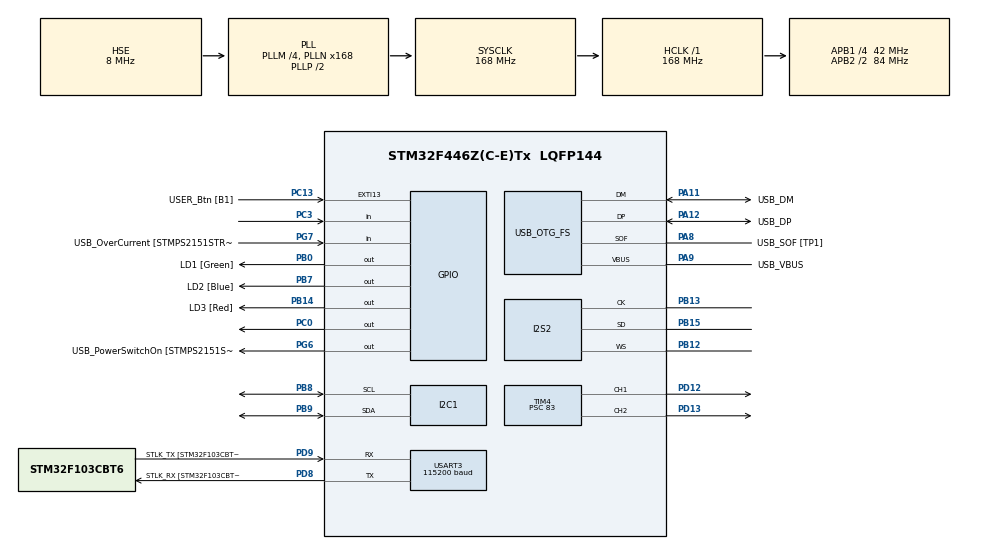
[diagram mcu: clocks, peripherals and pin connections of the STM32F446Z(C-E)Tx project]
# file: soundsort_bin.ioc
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Dma.Request0=SPI2_RX
Dma.SPI2_RX.0.Direction=DMA_PERIPH_TO_MEMORY
Dma.SPI2_RX.0.FIFOMode=DMA_FIFOMODE_DISABLE
Dma.SPI2_RX.0.Instance=DMA1_Stream3
Dma.SPI2_RX.0.MemDataAlignment=DMA_MDATAALIGN_HALFWORD
Dma.SPI2_RX.0.MemInc=DMA_MINC_ENABLE
Dma.SPI2_RX.0.Mode=DMA_CIRCULAR
Dma.SPI2_RX.0.PeriphDataAlignment=DMA_PDATAALIGN_HALFWORD
Dma.SPI2_RX.0.PeriphInc=DMA_PINC_DISABLE
Dma.SPI2_RX.0.Priority=DMA_PRIORITY_VERY_HIGH
I2C1.I2C_Mode=I2C_Fast
I2S2.AudioFreq=I2S_AUDIOFREQ_16K
I2S2.DataFormat=I2S_DATAFORMAT_16B_EXTENDED
I2S2.ErrorAudioFreq=-0.26 %
I2S2.FullDuplexMode=I2S_FULLDUPLEXMODE_DISABLE
I2S2.Instance=SPI$Index
I2S2.Mode=I2S_MODE_MASTER_RX
I2S2.RealAudioFreq=15.957 KHz
I2S2.VirtualMode=I2S_MODE_MASTER
Mcu.Family=STM32F4
Mcu.Name=STM32F446Z(C-E)Tx
Mcu.Package=LQFP144
NVIC.DMA1_Stream3_IRQn=true\:0\:0\:false\:false\:true\:false\:true\:true
NVIC.PriorityGroup=NVIC_PRIORITYGROUP_4
PA0-WKUP.Signal=S_TIM2_CH1_ETR
PA10.GPIO_Label=USB_ID
PA10.Signal=USB_OTG_FS_ID
PA11.GPIO_Label=USB_DM
PA11.Mode=Device_Only
PA11.Signal=USB_OTG_FS_DM
PA12.GPIO_Label=USB_DP
PA12.Mode=Device_Only
PA12.Signal=USB_OTG_FS_DP
PA13.GPIO_Label=TMS
PA13.Mode=Serial_Wire
PA13.Signal=SYS_JTMS-SWDIO
PA14.GPIO_Label=TCK
PA14.Mode=Serial_Wire
PA14.Signal=SYS_JTCK-SWCLK
PA8.GPIO_Label=USB_SOF [TP1]
PA8.Mode=Activate_SOF_FS
PA8.Signal=USB_OTG_FS_SOF
PA9.GPIO_Label=USB_VBUS
PA9.Mode=Activate_VBUS
PA9.Signal=USB_OTG_FS_VBUS
PB0.GPIO_Label=LD1 [Green]
PB0.Signal=GPIO_Output
PB12.Mode=Half_Duplex_Master
PB12.Signal=I2S2_WS
PB13.Mode=Half_Duplex_Master
PB13.Signal=I2S2_CK
PB14.GPIO_Label=LD3 [Red]
PB14.Signal=GPIO_Output
PB15.Mode=Half_Duplex_Master
PB15.Signal=I2S2_SD
PB7.GPIO_Label=LD2 [Blue]
PB7.Signal=GPIO_Output
PB8.Mode=I2C
PB8.Signal=I2C1_SCL
PB9.Mode=I2C
PB9.Signal=I2C1_SDA
PC0.Signal=GPIO_Output
PC13.GPIO_Label=USER_Btn [B1]
PC13.Signal=GPXTI13
PC14-OSC32_IN.Mode=LSE-External-Oscillator
PC14-OSC32_IN.Signal=RCC_OSC32_IN
PC15-OSC32_OUT.Mode=LSE-External-Oscillator
PC15-OSC32_OUT.Signal=RCC_OSC32_OUT
PC3.Signal=GPIO_Input
PD12.Signal=S_TIM4_CH1
PD13.Signal=S_TIM4_CH2
PD8.GPIO_Label=STLK_RX [STM32F103CBT6_PA3]
PD8.Mode=Asynchronous
PD8.Signal=USART3_TX
PD9.GPIO_Label=STLK_TX [STM32F103CBT6_PA2]
PD9.Mode=Asynchronous
PD9.Signal=USART3_RX
PG6.GPIO_Label=USB_PowerSwitchOn [STMPS2151STR_EN]
PG6.Signal=GPIO_Output
PG7.GPIO_Label=USB_OverCurrent [STMPS2151STR_FAULT]
PG7.Signal=GPIO_Input
PH0-OSC_IN.GPIO_Label=MCO [STM32F103CBT6_PA8]
PH0-OSC_IN.Mode=HSE-External-Clock-Source
PH0-OSC_IN.Signal=RCC_OSC_IN
PH1-OSC_OUT.Mode=HSE-External-Clock-Source
PH1-OSC_OUT.Signal=RCC_OSC_OUT
ProjectManager.HeapSize=0x200
ProjectManager.StackSize=0x400
ProjectManager.TargetToolchain=STM32CubeIDE
RCC.48MHZClocksFreq_Value=24000000
RCC.AHBFreq_Value=168000000
RCC.APB1CLKDivider=RCC_HCLK_DIV4
RCC.APB1Freq_Value=42000000
RCC.APB1TimFreq_Value=84000000
RCC.APB2CLKDivider=RCC_HCLK_DIV2
RCC.APB2Freq_Value=84000000
RCC.APB2TimFreq_Value=168000000
RCC.CortexFreq_Value=168000000
RCC.HCLKFreq_Value=168000000
RCC.HSE_VALUE=8000000
RCC.HSI_VALUE=16000000
RCC.PLLI2SM=4
RCC.PLLM=4
RCC.PLLMUL=RCC_PLL_MUL9
RCC.PLLN=168
RCC.PLLQ=7
RCC.PRESCALERUSB=RCC_USBCLKSOURCE_PLL_DIV1_5
RCC.SYSCLKFreq_VALUE=168000000
RCC.SYSCLKSource=RCC_SYSCLKSOURCE_PLLCLK
RCC.SYSCLKSourceVirtual=RCC_SYSCLKSOURCE_PLLCLK
RCC.USBFreq_Value=48000000
RCC.VCOOutputFreq_Value=336000000
SH.S_TIM2_CH1_ETR.0=TIM2_CH1
SH.S_TIM4_CH1.0=TIM4_CH1,PWM Generation1 CH1
SH.S_TIM4_CH2.0=TIM4_CH2,PWM Generation2 CH2
TIM4.Channel-PWM\ Generation1\ CH1=TIM_CHANNEL_1
TIM4.Channel-PWM\ Generation2\ CH2=TIM_CHANNEL_2
TIM4.Period=19999
TIM4.Prescaler=83
TIM4.Pulse-PWM\ Generation1\ CH1=1500
USART3.BaudRate=115200
USART3.VirtualMode=VM_ASYNC
USB_OTG_FS.VirtualMode=Device_Only
VP_TIM4_VS_ClockSourceINT.Mode=Internal
board=NUCLEO-F446ZE

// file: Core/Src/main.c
/* USER CODE BEGIN Header */
/**
 ******************************************************************************
 * @file           : main.c
 * @brief          : Main program body
 ******************************************************************************
 * @attention
 *
 * Copyright (c) 2026 STMicroelectronics.
 * All rights reserved.
 *
 * This software is licensed under terms that can be found in the LICENSE file
 * in the root directory of this software component.
 * If no LICENSE file comes with this software, it is provided AS-IS.
 *
 ******************************************************************************
 */
/* USER CODE END Header */
#include "main.h"

/* USER CODE BEGIN Includes */
#include <stdio.h>
#include <math.h>
#include <string.h>

#include "soundsort_model.h"
#include "VL53L1X_api.h"
#include "ssd1306.h"
#include "fonts.h"
/* USER CODE END Includes */

/* USER CODE BEGIN PD */

// Total DMA buffer size for I2S audio
// DMA will fill this buffer continuously in a ping-pong manner:
// first half -> interrupt, second half -> interrupt
#define I2S_DMA_SAMPLES 1024
#define HALF_SAMPLES (I2S_DMA_SAMPLES / 2)

// If the ToF sensor sees an object closer than this, start listening
#define TOF_THRESHOLD_MM 120

// Audio sample rate used by both STM32 and Python training
#define TARGET_SR 16000

// We store 0.5 seconds at 16kHz audio
// 16000 samples/sec * 0.5 sec = 8000 samples
#define AUDIO_LEN 8000

// FFT size used for spectral features
// Only the first 1024 audio samples are used for FFT features
#define N_FFT 1024

/* USER CODE END PD */

I2C_HandleTypeDef hi2c1;

I2S_HandleTypeDef hi2s2;
DMA_HandleTypeDef hdma_spi2_rx;

TIM_HandleTypeDef htim4;

UART_HandleTypeDef huart3;

PCD_HandleTypeDef hpcd_USB_OTG_FS;

void SystemClock_Config(void);
static void MX_GPIO_Init(void);
static void MX_DMA_Init(void);
static void MX_I2S2_Init(void);
static void MX_USART3_UART_Init(void);
static void MX_USB_OTG_FS_PCD_Init(void);
static void MX_I2C1_Init(void);
static void MX_TIM4_Init(void);

/* USER CODE BEGIN 0 */
const float PI = 3.14159265358979f;

/* ---------------- Audio capture buffers ---------------- */
// Raw DMA buffer filled directly by I2S peripheral
static uint16_t i2s_rx_buf[I2S_DMA_SAMPLES];

// Final mono audio clip used for feature extraction
// This holds 8000 float samples = 0.5 seconds
static float audio_buf[AUDIO_LEN];

// Current write index into audio_buf[]
static uint32_t audio_idx = 0;

/* ---------------- FFT working buffers ---------------- */
// Input buffer for FFT (windowed first 1024 samples)
static float fft_in[N_FFT];

// Output power spectrum: for real FFT we only need bins 0..N/2
static float P[(N_FFT / 2) + 1];

// Internal real/imag arrays used by the FFT
// These are static to avoid large stack allocation
static float fft_real[N_FFT];
static float fft_imag[N_FFT];

/* ---------------- Runtime state/flag ---------------- */
// Set to 1 once we detect the actual impact sound
// Before that, we keep waiting even though recording has started
static uint8_t is_impact_detected = 0;

// Tracks the loudest sample seen in the current recording
static float max_heard_volume = 0.0f;

// Stores raw classifier scores (logits) for each class
// Useful for debugging / converting to probabilities
static float class_scores[NUM_CLASSES];

/* ---------------- DMA synchronization flags ---------------- */
// These flags are set inside DMA callbacks
// The main loop checks them and processes the correct half of the DMA buffer
volatile uint8_t half_ready = 0;
volatile uint8_t full_ready = 0;

/* ---------------- Audio preprocessing ---------------- */
// Running DC estimate for a simple DC blocker
// Helps remove microphone bias / offset
static int32_t dc_offset = 0;

/* ---------------- FSM States ---------------- */
typedef enum {
	STATE_IDLE,     // Waiting for an object to fall
	STATE_RECORDING // Object detected, microphone active, collecting impact audio
} SystemState;

SystemState current_state = STATE_IDLE;

// Counts how many DMA half/full chunks have been processed since recording started
uint32_t chunk_count = 0;

// I2C address for VL53L1X ToF sensor
uint16_t dev = 0x52;

// Compute power spectrum of a real-valued input signal
// Input: in[] = time-domain samples (length N_FFT)
// Output: P[] = power spectrum for bins 0..N_FFT/2
void compute_power_spectrum(float *in, float *P) {
	int N = N_FFT;

	/* --------------------------------------------------
	 * 1. Copy real input into complex FFT buffers
	 *    imag part starts at 0
	 * -------------------------------------------------- */
	for (int i = 0; i < N; i++) {
		fft_real[i] = in[i];
		fft_imag[i] = 0.0f;
	}

	/* --------------------------------------------------
	 * 2. Bit-reversal permutation
	 *    Reorders samples into the order required by the
	 *    iterative radix-2 FFT algorithm
	 * -------------------------------------------------- */
	int j = 0;
	for (int i = 0; i < N - 1; i++) {
		if (i < j) {
			float tr = fft_real[j];
			float ti = fft_imag[j];
			fft_real[j] = fft_real[i];
			fft_imag[j] = fft_imag[i];
			fft_real[i] = tr;
			fft_imag[i] = ti;
		}

		int k = N / 2;
		while (k <= j) {
			j -= k;
			k /= 2;
		}
		j += k;
	}

	/* --------------------------------------------------
	 * 3. Iterative radix-2 Cooley-Tukey FFT
	 *    Since N_FFT = 1024 = 2^10, we need 10 stages
	 * -------------------------------------------------- */
	for (int l = 1; l <= 10; l++) {
		int m = 1 << l;
		int m2 = m / 2;

		float omega_real = cosf(-2.0f * PI / m);
		float omega_imag = sinf(-2.0f * PI / m);

		for (int k = 0; k < N; k += m) {
			float w_real = 1.0f;
			float w_imag = 0.0f;

			for (int i = 0; i < m2; i++) {
				int t_idx = k + i + m2;
				float tr = w_real * fft_real[t_idx] - w_imag * fft_imag[t_idx];
				float ti = w_real * fft_imag[t_idx] + w_imag * fft_real[t_idx];

				int u_idx = k + i;
				fft_real[t_idx] = fft_real[u_idx] - tr;
				fft_imag[t_idx] = fft_imag[u_idx] - ti;
				fft_real[u_idx] += tr;
				fft_imag[u_idx] += ti;

				float next_w_real = w_real * omega_real - w_imag * omega_imag;
				w_imag = w_real * omega_imag + w_imag * omega_real;
				w_real = next_w_real;
			}
		}
	}

	/* --------------------------------------------------
	 * 4. Convert complex FFT result into power spectrum
	 *    Power = real^2 + imag^2
	 *    Only bins 0..N/2 are needed for real input
	 * -------------------------------------------------- */
	for (int k = 0; k <= N / 2; k++) {
		P[k] = fft_real[k] * fft_real[k] + fft_imag[k] * fft_imag[k];
	}
}

// Extract the same 15 features used in Python training
// feats[] layout:
// [0] RMS
// [1] Peak
// [2] Zero-crossing Rate
// [3] Decay ratio
// [4] Spectral centroid
// [5] Spectral rolloff
// [6] Active ratio
// [7]..[14] Band energies
void extract_features(float *x, float *feats) {
	/* --------------------------------------------------
	 * 0. Trim everything after the last "active" sample
	 *    This matches the Python preprocessing
	 *    If the impact ends early, the tail is zeroed out
	 * -------------------------------------------------- */
	int last_active_idx = -1;
	for (int i = 0; i < AUDIO_LEN; i++) {
		if (fabsf(x[i]) > 0.03f) {
			last_active_idx = i;
		}
	}

	if (last_active_idx >= 0) {
		for (int i = last_active_idx + 1; i < AUDIO_LEN; i++) {
			x[i] = 0.0f;
		}
	}

	/* --------------------------------------------------
	 * 1. Time-domain features
	 * -------------------------------------------------- */
	float sum_sq = 0.0f;  // for RMS
	float peak = 0.0f;    // max absolute amplitude
	float zcr = 0.0f;     // zero-crossing count
	int active_count = 0; // samples above active threshold

	for (int i = 0; i < AUDIO_LEN; i++) {
		float val = x[i];
		float abs_val = fabsf(val);

		sum_sq += val * val;

		if (abs_val > peak) {
			peak = abs_val;
		}

		// Count how much of the clip is "active"
		if (abs_val > 0.05f) {
			active_count++;
		}

		// Count sign changes for zero-crossing rate
		if (i > 0) {
			if ((x[i] >= 0.0f && x[i - 1] < 0.0f)
					|| (x[i] < 0.0f && x[i - 1] >= 0.0f)) {
				zcr += 1.0f;
			}
		}
	}

	// RMS = sqrt(mean(x^2))
	feats[0] = sqrtf(sum_sq / AUDIO_LEN + 1e-12f);

	// Peak amplitude
	feats[1] = peak + 1e-12f;

	// Zero-crossing rate
	feats[2] = zcr / AUDIO_LEN;

	// Compare energy in first third vs last third of the clip
	// If the sound decays quickly, first third energy will be much larger
	int third = AUDIO_LEN / 3;
	float e1 = 1e-12f;
	float e3 = 1e-12f;

	for (int i = 0; i < third; i++) {
		e1 += x[i] * x[i];
	}
	for (int i = AUDIO_LEN - third; i < AUDIO_LEN; i++) {
		e3 += x[i] * x[i];
	}

	feats[3] = logf(e1 / e3);

	/* --------------------------------------------------
	 * 2. Frequency-domain features
	 * -------------------------------------------------- */

	// Apply Hann window to the first 1024 samples before FFT
	for (int i = 0; i < N_FFT; i++) {
		/* FIX: use N_FFT - 1, not AUDIO_LEN - 1 */
		float window = 0.5f * (1.0f - cosf(2.0f * PI * i / (N_FFT - 1)));
		fft_in[i] = x[i] * window;
	}

	// Get power spectrum
	compute_power_spectrum(fft_in, P);

	// Total spectral energy
	float total_energy = 1e-12f;
	for (int k = 0; k <= N_FFT / 2; k++) {
		total_energy += P[k];
	}

	// Frequency represented by each FFT bin
	float bin_width = (float) TARGET_SR / (float) N_FFT;

	/* Spectral centroid:
	 * weighted average frequency
	 */
	float centroid_sum = 0.0f;
	for (int k = 0; k <= N_FFT / 2; k++) {
		float freq = k * bin_width;
		centroid_sum += freq * P[k];
	}
	feats[4] = centroid_sum / total_energy;

	/* Spectral rolloff:
	 * frequency below which 85% of energy lies
	 */
	float cumsum = 0.0f;
	float target = 0.85f * total_energy;
	float rolloff_freq = 0.0f;

	for (int k = 0; k <= N_FFT / 2; k++) {
		cumsum += P[k];
		if (cumsum >= target) {
			rolloff_freq = k * bin_width;
			break;
		}
	}
	feats[5] = rolloff_freq;

	// Fraction of samples whose magnitude exceeds 0.05
	feats[6] = (float) active_count / (float) AUDIO_LEN;

	/* Band energies:
	 * split the spectrum into 8 fixed frequency bands
	 * and normalize each by total energy
	 */
	const int edges[9] = { 0, 300, 700, 1200, 2000, 3000, 4500, 6500, 8000 };

	for (int b = 0; b < 8; b++) {
		float band_e = 0.0f;

		for (int k = 0; k <= N_FFT / 2; k++) {
			float freq = k * bin_width;
			if (freq >= edges[b] && freq < edges[b + 1]) {
				band_e += P[k];
			}
		}

		feats[7 + b] = band_e / total_energy;
	}
}

// Run logistic regression inference using the weights exported from Python
// For each class:
//   z = bias + sum(normalized_feature * weight)
// The class with the largest z is selected
int classify_garbage(float *feats) {
	int best_class = 0;
	float max_score = -1e9f;

	for (int c = 0; c < NUM_CLASSES; c++) {
		float z = LR_BIAS[c];

		for (int f = 0; f < NUM_FEATURES; f++) {
			// Normalize each feature using the same scaler that was used during training
			float scale = FEATURE_SCALE[f];
			if (scale < 1e-12f) {
				scale = 1.0f;
			}

			float norm_val = (feats[f] - FEATURE_MEAN[f]) / scale;
			z += norm_val * LR_WEIGHTS[c][f];
		}

		// Save logits for debugging / probability conversion
		class_scores[c] = z;

		if (z > max_score) {
			max_score = z;
			best_class = c;
		}
	}

	return best_class;
}

// Convert raw I2S DMA data into mono float samples and store them in audio_buf[]
// Notes:
// - The microphone stream arrives as 16-bit words in a larger I2S frame format
// - We take one sample every 4 words to get the desired mono channel
// - A simple DC blocker removes slow offset drift
// - We ignore the first few DMA chunks to let the stream settle
// - We only start copying once an actual impact is heard
static void fill_audio_buffer(uint16_t *src) {
	for (uint32_t i = 0; i < HALF_SAMPLES; i += 4) {
		// Extract one signed 16-bit sample
		int16_t raw_sample = (int16_t) src[i];

		// Simple DC blocker:
		// track the slow average, subtract it away
		dc_offset = dc_offset + ((raw_sample - dc_offset) / 64); // can adjust rate of change
		float sample_float = (float) (raw_sample - dc_offset) / 32768.0f;

		// Ignore the first few chunks after DMA starts
		// because they may contain startup junk / transient data
		if (chunk_count < 5) {
			continue;
		}

		float abs_val = fabsf(sample_float);

		// Track maximum amplitude for debugging
		if (abs_val > max_heard_volume) {
			max_heard_volume = abs_val;
		}

		// Impact detection:
		// once a sample crosses this threshold, start saving audio
		if (!is_impact_detected) {
			if (abs_val > 0.01f) { // Train in python uses 0.03
				is_impact_detected = 1;
			}
		}

		// Once impact starts, copy samples into the final 0.5s buffer
		if (is_impact_detected && audio_idx < AUDIO_LEN) {
			audio_buf[audio_idx++] = sample_float;
		}
	}
}

// OLED displays in IDLE state
void OLED_ShowIdle(void) {
	SSD1306_Fill(SSD1306_COLOR_BLACK);

	SSD1306_GotoXY(0, 0);
	SSD1306_Puts("SoundSort Bin", &Font_7x10);

	SSD1306_GotoXY(0, 20);
	SSD1306_Puts("Waiting...", &Font_11x18);

	SSD1306_UpdateScreen();
}

// OLED displays when timeout (triggers ToF but no input sound)
void OLED_ShowTimeout(void) {
	SSD1306_Fill(SSD1306_COLOR_BLACK);

	SSD1306_GotoXY(0, 0);
	SSD1306_Puts("No impact", &Font_11x18);

	SSD1306_GotoXY(0, 24);
	SSD1306_Puts("Try again", &Font_11x18);

	SSD1306_UpdateScreen();
}

// OLED displays the result: garbage type + confidence in probability
void OLED_ShowResult(const char *label, float prob_percent) {
	char prob_str[24];

	snprintf(prob_str, sizeof(prob_str), "Prob: %.2f%%", prob_percent);

	SSD1306_Fill(SSD1306_COLOR_BLACK);

	SSD1306_GotoXY(0, 0);
	SSD1306_Puts("Result", &Font_7x10);

	SSD1306_GotoXY(0, 16);
	SSD1306_Puts((char*) label, &Font_11x18);

	SSD1306_GotoXY(0, 42);
	SSD1306_Puts(prob_str, &Font_7x10);

	SSD1306_UpdateScreen();
}

// Servo rotation functions
// Rotate servo to 0 degrees/reset
void servo_rotate_0(void) {
	__HAL_TIM_SET_COMPARE(&htim4, TIM_CHANNEL_1, 500);
	HAL_Delay(2000);
}

// Rotate servo to 90 degrees/reset
void servo_rotate_90(void) {
	__HAL_TIM_SET_COMPARE(&htim4, TIM_CHANNEL_1, 1166);
	HAL_Delay(2000);
}

// Rotate servo to 180 degrees/reset
void servo_rotate_180(void) {
	__HAL_TIM_SET_COMPARE(&htim4, TIM_CHANNEL_1, 1832);
	HAL_Delay(2000);
}

// Rotate servo to 270 degrees/reset
void servo_rotate_270(void) {
	__HAL_TIM_SET_COMPARE(&htim4, TIM_CHANNEL_1, 2500);
	HAL_Delay(2000);
}

// DMA Call Backs
// Ping-Pong buffering: while the CPU processes the first half, the DMA fills the second half
// first half of i2s_rx_buf[] is ready for processing
void HAL_I2S_RxHalfCpltCallback(I2S_HandleTypeDef *hi2s) {
	if (hi2s->Instance == SPI2) {
		half_ready = 1;
	}
}

// second half of i2s_rx_buf[] is ready for processing
void HAL_I2S_RxCpltCallback(I2S_HandleTypeDef *hi2s) {
	if (hi2s->Instance == SPI2) {
		full_ready = 1;
	}
}
/* USER CODE END 0 */

int main(void) {

	/* MCU Configuration--------------------------------------------------------*/

	/* Reset of all peripherals, Initializes the Flash interface and the Systick. */
	HAL_Init();

	/* Configure the system clock */
	SystemClock_Config();

	/* Initialize all configured peripherals */
	MX_GPIO_Init();
	MX_DMA_Init();
	MX_I2S2_Init();
	MX_USART3_UART_Init();
	MX_USB_OTG_FS_PCD_Init();
	MX_I2C1_Init();
	MX_TIM4_Init();
	/* USER CODE BEGIN 2 */

	// Turn on RED LED to indicate boot is starting
	HAL_GPIO_WritePin(GPIOB, LD3_Pin, GPIO_PIN_SET);

	/* ---------------- ToF Setup ---------------- */
	// 1. Reset ToF sensor (Pull XSHUT Low)
	HAL_GPIO_WritePin(GPIOC, GPIO_PIN_0, GPIO_PIN_RESET);
	HAL_Delay(10); // Hold it in reset

	// 2. Wake the ToF Sensor UP (Pull XSHUT High)
	HAL_GPIO_WritePin(GPIOC, GPIO_PIN_0, GPIO_PIN_SET);
	HAL_Delay(50); // Give it time to boot internally

	// Wait until sensor reports it has finished booting
	uint8_t sensorState = 0;
	while (sensorState == 0) {
		VL53L1X_BootState(dev, &sensorState);
		HAL_Delay(2);
	}

	// 3. Configure ToF for short-range, fast updates
	VL53L1X_SensorInit(dev);
	VL53L1X_SetDistanceMode(dev, 1);
	VL53L1X_SetTimingBudgetInMs(dev, 33);
	VL53L1X_SetInterMeasurementInMs(dev, 33);
	VL53L1X_StartRanging(dev);

	/* ---------------- OLED Screen Setup ---------------- */
	if (SSD1306_Init() != HAL_OK) {
		char msg[] = "OLED init failed\r\n";
		HAL_UART_Transmit(&huart3, (uint8_t*) msg, strlen(msg), HAL_MAX_DELAY);
	} else {
		OLED_ShowIdle();
	}

	/* ---------------- PWM/Servo Setup ---------------- */
	HAL_TIM_PWM_Start(&htim4, TIM_CHANNEL_1);
	HAL_TIM_PWM_Start(&htim4, TIM_CHANNEL_2);

	// Rotate to 0 degree
	servo_rotate_0();

	// /Close the lid
	__HAL_TIM_SET_COMPARE(&htim4, TIM_CHANNEL_2, 500);
	HAL_Delay(2000);

	// Finish setup (successful)
	// red LED off, green LED on
	HAL_GPIO_WritePin(GPIOB, LD3_Pin, GPIO_PIN_RESET);
	HAL_GPIO_WritePin(GPIOB, LD1_Pin, GPIO_PIN_SET);

	char msg[] = "All setup finished\r\n";
	HAL_UART_Transmit(&huart3, (uint8_t*) msg, strlen(msg), HAL_MAX_DELAY);

	/* USER CODE END 2 */

	/* Infinite loop */
	/* USER CODE BEGIN WHILE */
	while (1) {
		if (current_state == STATE_IDLE) {
			// In IDLE state, repeatedly poll the ToF sensor
			// We only start audio capture when an object enters the bin
			OLED_ShowIdle();
			uint8_t dataReady = 0;
			VL53L1X_CheckForDataReady(dev, &dataReady);

			if (dataReady) {
				uint16_t distance = 0;
				VL53L1X_GetDistance(dev, &distance);
				VL53L1X_ClearInterrupt(dev);

				// If object is close enough, trigger recording
				if (distance < TOF_THRESHOLD_MM && distance > 0) {
					current_state = STATE_RECORDING;

					// Reset recording-related state
					chunk_count = 0;
					audio_idx = 0;
					half_ready = 0;
					full_ready = 0;

					is_impact_detected = 0;
					max_heard_volume = 0.0f;
					dc_offset = 0;
					memset(audio_buf, 0, sizeof(audio_buf));

					// Stop ToF while recording (ToF may stop working after a long time)
					VL53L1X_StopRanging(dev);

					// Start microphone DMA capture
					HAL_I2S_Receive_DMA(&hi2s2, i2s_rx_buf, I2S_DMA_SAMPLES);

					char msg[64];
					sprintf(msg, "--- ITEM DETECTED (%d mm) ---\r\n", distance);
					HAL_UART_Transmit(&huart3, (uint8_t*) msg, strlen(msg),
					HAL_MAX_DELAY);
				}
			}
		} else if (current_state == STATE_RECORDING) {
			// In RECORDING state, the DMA callbacks set flags when either half of the DMA buffer is ready
			if (half_ready) {
				half_ready = 0;
				fill_audio_buffer(&i2s_rx_buf[0]);
				chunk_count++;
			}

			// DMA finished filling the second half of the array
			if (full_ready) {
				full_ready = 0;
				fill_audio_buffer(&i2s_rx_buf[HALF_SAMPLES]);
				chunk_count++;
			}

			/* ------------------------------------------------------
			 * SUCCESS CASE:
			 * Once we have collected 8000 samples after impact,
			 * stop recording and run classification
			 * ------------------------------------------------------ */
			if (audio_idx >= AUDIO_LEN) {
				HAL_I2S_DMAStop(&hi2s2);

				uint32_t t0 = HAL_GetTick();

				float features[NUM_FEATURES];
				extract_features(audio_buf, features);

				int predicted_idx = classify_garbage(features);

				char msg[160];

				// Find actual time that feature extractions and classifications cost
				uint32_t t1 = HAL_GetTick();
				uint32_t proc_ms = t1 - t0;
				sprintf(msg, "Processing time: %lu ms\r\n", proc_ms);
				HAL_UART_Transmit(&huart3, (uint8_t*)msg, strlen(msg), HAL_MAX_DELAY);

				// For Debug through UART
				sprintf(msg, "\r\n=== CLASSIFICATION ===\r\n");
				HAL_UART_Transmit(&huart3, (uint8_t*) msg, strlen(msg),
				HAL_MAX_DELAY);

				sprintf(msg, "max amplitude: %.5f\r\n", max_heard_volume);
				HAL_UART_Transmit(&huart3, (uint8_t*) msg, strlen(msg),
				HAL_MAX_DELAY);

				for (int i = 0; i < NUM_FEATURES; i++) {
					sprintf(msg, "F[%02d] = %.6f\r\n", i, features[i]);
					HAL_UART_Transmit(&huart3, (uint8_t*) msg, strlen(msg),
					HAL_MAX_DELAY);
				}

				for (int c = 0; c < NUM_CLASSES; c++) {
					sprintf(msg, "%s: %.6f\r\n", CLASS_NAMES[c],
							class_scores[c]);
					HAL_UART_Transmit(&huart3, (uint8_t*) msg, strlen(msg),
					HAL_MAX_DELAY);
				}

				sprintf(msg, "\r\npredicted: %s\r\n",
						CLASS_NAMES[predicted_idx]);
				HAL_UART_Transmit(&huart3, (uint8_t*) msg, strlen(msg),
				HAL_MAX_DELAY);

				// Convert raw logits into softmax probabilities
				float max_logit = class_scores[0];
				for (int c = 1; c < NUM_CLASSES; c++) {
					if (class_scores[c] > max_logit) {
						max_logit = class_scores[c];
					}
				}

				float exp_sum = 0.0f;
				float probs[NUM_CLASSES];

				for (int c = 0; c < NUM_CLASSES; c++) {
					probs[c] = expf(class_scores[c] - max_logit);
					exp_sum += probs[c];
				}

				for (int c = 0; c < NUM_CLASSES; c++) {
					probs[c] /= exp_sum;
				}

				// Print probability for each class
				for (int c = 0; c < NUM_CLASSES; c++) {
					sprintf(msg, "%s prob: %.2f%%\r\n", CLASS_NAMES[c],
							probs[c] * 100.0f);
					HAL_UART_Transmit(&huart3, (uint8_t*) msg, strlen(msg),
					HAL_MAX_DELAY);
				}

				sprintf(msg, "======================\r\n");
				HAL_UART_Transmit(&huart3, (uint8_t*) msg, strlen(msg),
				HAL_MAX_DELAY);

				// Display clasification result on OLED
				OLED_ShowResult(CLASS_NAMES[predicted_idx],
						probs[predicted_idx] * 100.0f);

				// Blink LED to show a classification happened
				HAL_GPIO_WritePin(GPIOB, LD2_Pin, GPIO_PIN_SET);
				HAL_Delay(300);
				HAL_GPIO_WritePin(GPIOB, LD2_Pin, GPIO_PIN_RESET);

				// Rotate servo to the corresponding class
				if (predicted_idx == 0) {
					servo_rotate_0(); // can
				}
				if (predicted_idx == 1) {
					servo_rotate_90(); // glass
				}
				if (predicted_idx == 2) {
					servo_rotate_180(); // paper
				}
				if (predicted_idx == 3) {
					servo_rotate_270(); // plastic
				}

				// Open the lid for 2sec and close it
				__HAL_TIM_SET_COMPARE(&htim4, TIM_CHANNEL_2, 1000);
				HAL_Delay(2000);
				__HAL_TIM_SET_COMPARE(&htim4, TIM_CHANNEL_2, 500);

				// Resume ToF scanning for the next object
				VL53L1X_StartRanging(dev);
				is_impact_detected = 0;
				current_state = STATE_IDLE;

				// UART print ready
				sprintf(msg, "Ready!\r\n");
				HAL_UART_Transmit(&huart3, (uint8_t*) msg, strlen(msg),
				HAL_MAX_DELAY);
			}

			/* ------------------------------------------------------
			 * TIMEOUT CASE:
			 * If an object was detected but no real impact sound
			 * happened after enough DMA chunks, give up and reset.
			 * ------------------------------------------------------ */
			else if (chunk_count >= 250 && !is_impact_detected) {
				// Stop the microphone
				HAL_I2S_DMAStop(&hi2s2);

				char msg[] = "TIMEOUT: Object detected, but no sound heard.\n\n";
				HAL_UART_Transmit(&huart3, (uint8_t*) msg, strlen(msg),
				HAL_MAX_DELAY);

				// Display on OLED
				OLED_ShowTimeout();

				// Only wait half a second on a timeout before scanning again
				HAL_Delay(500);
				VL53L1X_StartRanging(dev);
				is_impact_detected = 0;
				max_heard_volume = 0.0f;
				dc_offset = 0;
				current_state = STATE_IDLE;
			}
		}
	}
	/* USER CODE END WHILE */

}

void SystemClock_Config(void) {
	RCC_OscInitTypeDef RCC_OscInitStruct = { 0 };
	RCC_ClkInitTypeDef RCC_ClkInitStruct = { 0 };

	/** Configure the main internal regulator output voltage
	 */
	__HAL_RCC_PWR_CLK_ENABLE();
	__HAL_PWR_VOLTAGESCALING_CONFIG(PWR_REGULATOR_VOLTAGE_SCALE1);

	/** Initializes the RCC Oscillators according to the specified parameters
	 * in the RCC_OscInitTypeDef structure.
	 */
	RCC_OscInitStruct.OscillatorType = RCC_OSCILLATORTYPE_HSE;
	RCC_OscInitStruct.HSEState = RCC_HSE_BYPASS;
	RCC_OscInitStruct.PLL.PLLState = RCC_PLL_ON;
	RCC_OscInitStruct.PLL.PLLSource = RCC_PLLSOURCE_HSE;
	RCC_OscInitStruct.PLL.PLLM = 4;
	RCC_OscInitStruct.PLL.PLLN = 168;
	RCC_OscInitStruct.PLL.PLLP = RCC_PLLP_DIV2;
	RCC_OscInitStruct.PLL.PLLQ = 7;
	RCC_OscInitStruct.PLL.PLLR = 2;
	if (HAL_RCC_OscConfig(&RCC_OscInitStruct) != HAL_OK) {
		Error_Handler();
	}

	/** Initializes the CPU, AHB and APB buses clocks
	 */
	RCC_ClkInitStruct.ClockType = RCC_CLOCKTYPE_HCLK | RCC_CLOCKTYPE_SYSCLK
			| RCC_CLOCKTYPE_PCLK1 | RCC_CLOCKTYPE_PCLK2;
	RCC_ClkInitStruct.SYSCLKSource = RCC_SYSCLKSOURCE_PLLCLK;
	RCC_ClkInitStruct.AHBCLKDivider = RCC_SYSCLK_DIV1;
	RCC_ClkInitStruct.APB1CLKDivider = RCC_HCLK_DIV4;
	RCC_ClkInitStruct.APB2CLKDivider = RCC_HCLK_DIV2;

	if (HAL_RCC_ClockConfig(&RCC_ClkInitStruct, FLASH_LATENCY_5) != HAL_OK) {
		Error_Handler();
	}
}

static void MX_I2C1_Init(void) {

	hi2c1.Instance = I2C1;
	hi2c1.Init.ClockSpeed = 400000;
	hi2c1.Init.DutyCycle = I2C_DUTYCYCLE_2;
	hi2c1.Init.OwnAddress1 = 0;
	hi2c1.Init.AddressingMode = I2C_ADDRESSINGMODE_7BIT;
	hi2c1.Init.DualAddressMode = I2C_DUALADDRESS_DISABLE;
	hi2c1.Init.OwnAddress2 = 0;
	hi2c1.Init.GeneralCallMode = I2C_GENERALCALL_DISABLE;
	hi2c1.Init.NoStretchMode = I2C_NOSTRETCH_DISABLE;
	if (HAL_I2C_Init(&hi2c1) != HAL_OK) {
		Error_Handler();
	}

}

static void MX_I2S2_Init(void) {

	hi2s2.Instance = SPI2;
	hi2s2.Init.Mode = I2S_MODE_MASTER_RX;
	hi2s2.Init.Standard = I2S_STANDARD_PHILIPS;
	hi2s2.Init.DataFormat = I2S_DATAFORMAT_16B_EXTENDED;
	hi2s2.Init.MCLKOutput = I2S_MCLKOUTPUT_DISABLE;
	hi2s2.Init.AudioFreq = I2S_AUDIOFREQ_16K;
	hi2s2.Init.CPOL = I2S_CPOL_LOW;
	hi2s2.Init.ClockSource = I2S_CLOCK_PLL;
	hi2s2.Init.FullDuplexMode = I2S_FULLDUPLEXMODE_DISABLE;
	if (HAL_I2S_Init(&hi2s2) != HAL_OK) {
		Error_Handler();
	}

}

static void MX_TIM4_Init(void) {

	TIM_ClockConfigTypeDef sClockSourceConfig = { 0 };
	TIM_MasterConfigTypeDef sMasterConfig = { 0 };
	TIM_OC_InitTypeDef sConfigOC = { 0 };

	htim4.Instance = TIM4;
	htim4.Init.Prescaler = 83;
	htim4.Init.CounterMode = TIM_COUNTERMODE_UP;
	htim4.Init.Period = 19999;
	htim4.Init.ClockDivision = TIM_CLOCKDIVISION_DIV1;
	htim4.Init.AutoReloadPreload = TIM_AUTORELOAD_PRELOAD_DISABLE;
	if (HAL_TIM_Base_Init(&htim4) != HAL_OK) {
		Error_Handler();
	}
	sClockSourceConfig.ClockSource = TIM_CLOCKSOURCE_INTERNAL;
	if (HAL_TIM_ConfigClockSource(&htim4, &sClockSourceConfig) != HAL_OK) {
		Error_Handler();
	}
	if (HAL_TIM_PWM_Init(&htim4) != HAL_OK) {
		Error_Handler();
	}
	sMasterConfig.MasterOutputTrigger = TIM_TRGO_RESET;
	sMasterConfig.MasterSlaveMode = TIM_MASTERSLAVEMODE_DISABLE;
	if (HAL_TIMEx_MasterConfigSynchronization(&htim4, &sMasterConfig)
			!= HAL_OK) {
		Error_Handler();
	}
	sConfigOC.OCMode = TIM_OCMODE_PWM1;
	sConfigOC.Pulse = 1500;
	sConfigOC.OCPolarity = TIM_OCPOLARITY_HIGH;
	sConfigOC.OCFastMode = TIM_OCFAST_DISABLE;
	if (HAL_TIM_PWM_ConfigChannel(&htim4, &sConfigOC, TIM_CHANNEL_1)
			!= HAL_OK) {
		Error_Handler();
	}
	sConfigOC.Pulse = 0;
	if (HAL_TIM_PWM_ConfigChannel(&htim4, &sConfigOC, TIM_CHANNEL_2)
			!= HAL_OK) {
		Error_Handler();
	}
	HAL_TIM_MspPostInit(&htim4);

}

static void MX_USART3_UART_Init(void) {

	huart3.Instance = USART3;
	huart3.Init.BaudRate = 115200;
	huart3.Init.WordLength = UART_WORDLENGTH_8B;
	huart3.Init.StopBits = UART_STOPBITS_1;
	huart3.Init.Parity = UART_PARITY_NONE;
	huart3.Init.Mode = UART_MODE_TX_RX;
	huart3.Init.HwFlowCtl = UART_HWCONTROL_NONE;
	huart3.Init.OverSampling = UART_OVERSAMPLING_16;
	if (HAL_UART_Init(&huart3) != HAL_OK) {
		Error_Handler();
	}

}

static void MX_USB_OTG_FS_PCD_Init(void) {

	hpcd_USB_OTG_FS.Instance = USB_OTG_FS;
	hpcd_USB_OTG_FS.Init.dev_endpoints = 6;
	hpcd_USB_OTG_FS.Init.speed = PCD_SPEED_FULL;
	hpcd_USB_OTG_FS.Init.dma_enable = DISABLE;
	hpcd_USB_OTG_FS.Init.phy_itface = PCD_PHY_EMBEDDED;
	hpcd_USB_OTG_FS.Init.Sof_enable = ENABLE;
	hpcd_USB_OTG_FS.Init.low_power_enable = DISABLE;
	hpcd_USB_OTG_FS.Init.lpm_enable = DISABLE;
	hpcd_USB_OTG_FS.Init.vbus_sensing_enable = ENABLE;
	hpcd_USB_OTG_FS.Init.use_dedicated_ep1 = DISABLE;
	if (HAL_PCD_Init(&hpcd_USB_OTG_FS) != HAL_OK) {
		Error_Handler();
	}

}

static void MX_DMA_Init(void) {

	/* DMA controller clock enable */
	__HAL_RCC_DMA1_CLK_ENABLE();

	/* DMA interrupt init */
	/* DMA1_Stream3_IRQn interrupt configuration */
	HAL_NVIC_SetPriority(DMA1_Stream3_IRQn, 0, 0);
	HAL_NVIC_EnableIRQ(DMA1_Stream3_IRQn);

}

static void MX_GPIO_Init(void) {
	GPIO_InitTypeDef GPIO_InitStruct = { 0 };

	/* GPIO Ports Clock Enable */
	__HAL_RCC_GPIOC_CLK_ENABLE();
	__HAL_RCC_GPIOH_CLK_ENABLE();
	__HAL_RCC_GPIOA_CLK_ENABLE();
	__HAL_RCC_GPIOB_CLK_ENABLE();
	__HAL_RCC_GPIOD_CLK_ENABLE();
	__HAL_RCC_GPIOG_CLK_ENABLE();

	/*Configure GPIO pin Output Level */
	HAL_GPIO_WritePin(GPIOC, GPIO_PIN_0, GPIO_PIN_RESET);

	/*Configure GPIO pin Output Level */
	HAL_GPIO_WritePin(GPIOB, LD1_Pin | LD3_Pin | LD2_Pin, GPIO_PIN_RESET);

	/*Configure GPIO pin Output Level */
	HAL_GPIO_WritePin(USB_PowerSwitchOn_GPIO_Port, USB_PowerSwitchOn_Pin,
			GPIO_PIN_RESET);

	/*Configure GPIO pin : USER_Btn_Pin */
	GPIO_InitStruct.Pin = USER_Btn_Pin;
	GPIO_InitStruct.Mode = GPIO_MODE_IT_RISING;
	GPIO_InitStruct.Pull = GPIO_NOPULL;
	HAL_GPIO_Init(USER_Btn_GPIO_Port, &GPIO_InitStruct);

	/*Configure GPIO pin : PC0 */
	GPIO_InitStruct.Pin = GPIO_PIN_0;
	GPIO_InitStruct.Mode = GPIO_MODE_OUTPUT_PP;
	GPIO_InitStruct.Pull = GPIO_NOPULL;
	GPIO_InitStruct.Speed = GPIO_SPEED_FREQ_LOW;
	HAL_GPIO_Init(GPIOC, &GPIO_InitStruct);

	/*Configure GPIO pin : PC3 */
	GPIO_InitStruct.Pin = GPIO_PIN_3;
	GPIO_InitStruct.Mode = GPIO_MODE_INPUT;
	GPIO_InitStruct.Pull = GPIO_NOPULL;
	HAL_GPIO_Init(GPIOC, &GPIO_InitStruct);

	/*Configure GPIO pin : PA0 */
	GPIO_InitStruct.Pin = GPIO_PIN_0;
	GPIO_InitStruct.Mode = GPIO_MODE_AF_PP;
	GPIO_InitStruct.Pull = GPIO_NOPULL;
	GPIO_InitStruct.Speed = GPIO_SPEED_FREQ_LOW;
	GPIO_InitStruct.Alternate = GPIO_AF1_TIM2;
	HAL_GPIO_Init(GPIOA, &GPIO_InitStruct);

	/*Configure GPIO pins : LD1_Pin LD3_Pin LD2_Pin */
	GPIO_InitStruct.Pin = LD1_Pin | LD3_Pin | LD2_Pin;
	GPIO_InitStruct.Mode = GPIO_MODE_OUTPUT_PP;
	GPIO_InitStruct.Pull = GPIO_NOPULL;
	GPIO_InitStruct.Speed = GPIO_SPEED_FREQ_LOW;
	HAL_GPIO_Init(GPIOB, &GPIO_InitStruct);

	/*Configure GPIO pin : USB_PowerSwitchOn_Pin */
	GPIO_InitStruct.Pin = USB_PowerSwitchOn_Pin;
	GPIO_InitStruct.Mode = GPIO_MODE_OUTPUT_PP;
	GPIO_InitStruct.Pull = GPIO_NOPULL;
	GPIO_InitStruct.Speed = GPIO_SPEED_FREQ_LOW;
	HAL_GPIO_Init(USB_PowerSwitchOn_GPIO_Port, &GPIO_InitStruct);

	/*Configure GPIO pin : USB_OverCurrent_Pin */
	GPIO_InitStruct.Pin = USB_OverCurrent_Pin;
	GPIO_InitStruct.Mode = GPIO_MODE_INPUT;
	GPIO_InitStruct.Pull = GPIO_NOPULL;
	HAL_GPIO_Init(USB_OverCurrent_GPIO_Port, &GPIO_InitStruct);

}

void Error_Handler(void) {
	/* USER CODE BEGIN Error_Handler_Debug */
	/* User can add his own implementation to report the HAL error return state */
	__disable_irq();
	HAL_GPIO_WritePin(GPIOB, LD3_Pin, GPIO_PIN_SET);
	while (1) {
	}
	/* USER CODE END Error_Handler_Debug */
}
